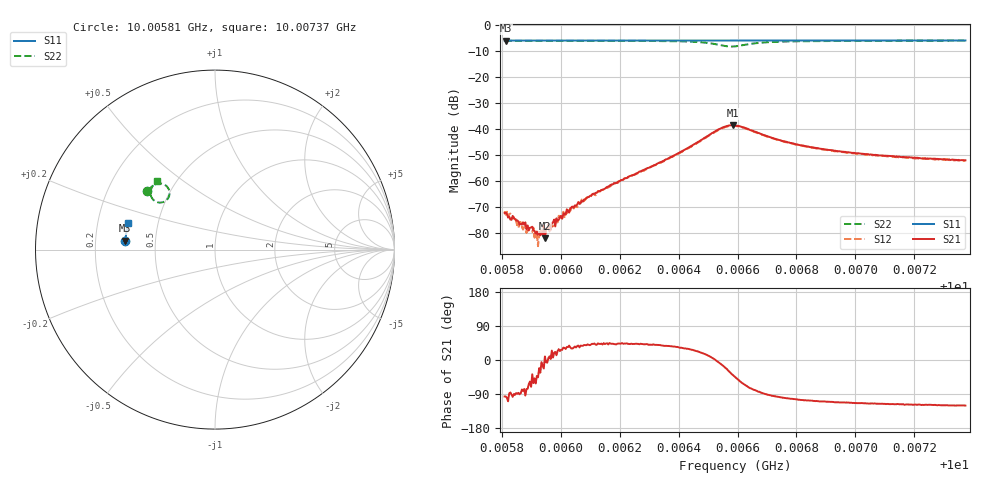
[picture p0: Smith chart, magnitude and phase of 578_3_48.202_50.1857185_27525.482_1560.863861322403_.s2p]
#  HZ  S  RI  R  50.00
! Rohde & Schwarz Vector Network Analyzer
! Rohde-Schwarz,ZNB20-2Port,1311601062101988,3.16
! Created: UTC 3/20/2024, 12:01:59 PM
! freq[Hz]  re:S11  im:S11  re:S21  im:S21  re:S12  im:S12  re:S22  im:S22
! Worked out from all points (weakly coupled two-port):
!   401 points, 10.00581 GHz to 10.00737 GHz, reference 50 ohm
!   highest |S21| = -38.43 dB at 10.00658 GHz (marker M1); lowest = -81.8 dB at 10.00595 GHz (marker M2)
!   lowest |S11| = -6.0 dB at 10.00581 GHz (marker M3), VSWR 3.02, Z = 16.6 + j2.17 ohm
!   |S11| at or under -10 dB: nowhere
!   |S22| runs from -8.3 to -6.0 dB; largest |S21 - S12| = 0.00084
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1.0005809e10  -0.4997 0.0487  -2.7e-05 -0.000245  -3.37e-06 -0.000266  -0.3772 0.3245
1.0005813e10  -0.4996 0.0489  -2.75e-05 -0.00025  9.2e-07 -0.00023  -0.377 0.3247
1.0005833e10  -0.4996 0.0502  -4.34e-06 -0.000183  -1.99e-05 -0.000189  -0.3761 0.326
1.0005848e10  -0.4995 0.0513  8.77e-06 -0.000177  1.51e-05 -0.000185  -0.3754 0.327
1.0005868e10  -0.4994 0.0525  3.09e-05 -0.000144  -2.92e-07 -0.000137  -0.3743 0.3281
1.000588e10  -0.4994 0.0532  -1.05e-05 -0.000163  2.43e-05 -0.000118  -0.3736 0.3288
1.0005923e10  -0.4992 0.0561  6.71e-05 -6.9e-05  5.4e-05 -1.85e-05  -0.3713 0.3316
1.0005946e10  -0.499 0.0577  7.99e-05 1.33e-05  8.58e-05 -2.36e-05  -0.37 0.333
1.000597e10  -0.4989 0.0591  0.000146 6.76e-05  0.000122 5.56e-05  -0.3686 0.3345
1.0006001e10  -0.4987 0.0613  0.000193 9.91e-05  0.000183 8.72e-05  -0.3669 0.3367
1.000604e10  -0.4984 0.0638  0.000283 0.000166  0.000268 0.000219  -0.3643 0.3393
1.0006071e10  -0.4981 0.0658  0.000335 0.000255  0.000325 0.000305  -0.3623 0.3413
1.0006173e10  -0.4976 0.0724  0.000643 0.00059  0.000584 0.000641  -0.3546 0.3489
1.0006333e10  -0.4962 0.0828  0.00175 0.00143  0.00167 0.00148  -0.3353 0.3621
1.0006462e10  -0.4947 0.0914  0.00511 0.00219  0.00488 0.00237  -0.2965 0.3674
1.0006537e10  -0.4933 0.0959  0.00994 -0.00113  0.00973 -0.000526  -0.2551 0.3296
1.0006584e10  -0.4927 0.0982  0.00927 -0.0076  0.00942 -0.00682  -0.2736 0.2729
1.0006591e10  -0.4928 0.0986  0.00845 -0.00833  0.00869 -0.00766  -0.2828 0.2671
1.0006678e10  -0.4926 0.1038  0.000645 -0.00816  0.00102 -0.00799  -0.3526 0.2897
1.0006853e10  -0.4908 0.1153  -0.00133 -0.00427  -0.00112 -0.00428  -0.3548 0.3391
1.0007115e10  -0.487 0.132  -0.00136 -0.00273  -0.0012 -0.00274  -0.339 0.3653
1.0007374e10  -0.483 0.1482  -0.00128 -0.00219  -0.00115 -0.00219  -0.3247 0.3814
